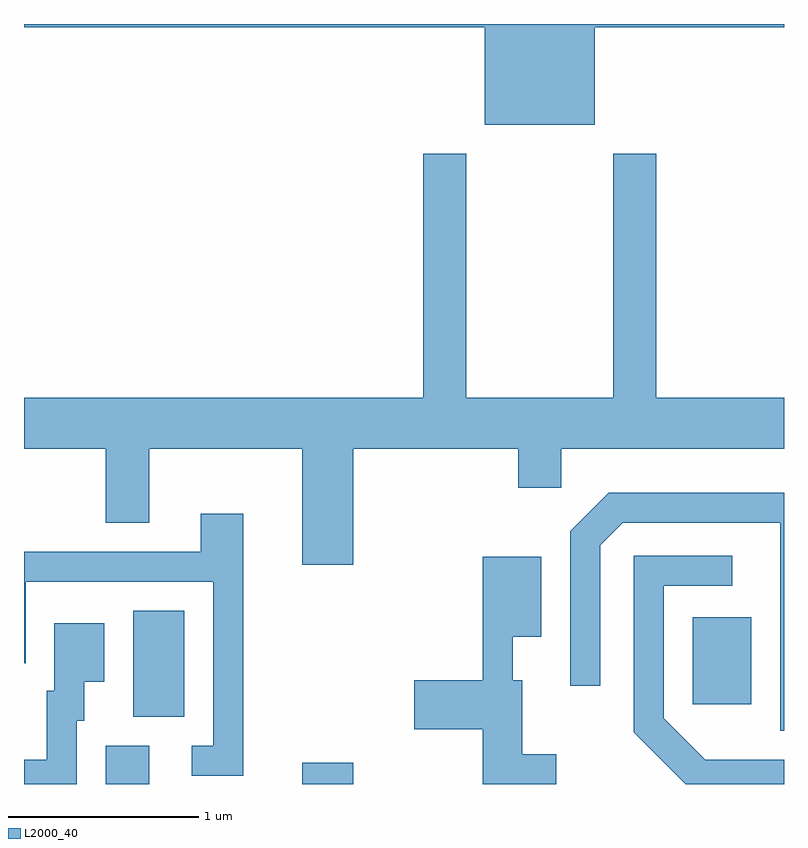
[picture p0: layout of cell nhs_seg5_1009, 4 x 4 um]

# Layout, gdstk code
import gdstk
lib = gdstk.Library(unit=1e-6, precision=1e-09)
def R(c, l, rs):  # rectangles x0, y0, x1, y1
    for r in rs: c.add(gdstk.rectangle(r[:2], r[2:], *l))
def P(c, l, *ps):  # polygons
    for p in ps: c.add(gdstk.Polygon(p, *l))
L2000_40 = (2000, 40)

nhs_seg5_1009 = lib.new_cell('nhs_seg5_1009')
R(nhs_seg5_1009, L2000_40, [(214.041,1526.072,214.269,1526.274), (215.076,1526.072,215.344,1526.184), (214.186,1526.426,214.454,1526.984), (217.131,1526.491,217.439,1526.949)])
P(nhs_seg5_1009, L2000_40, [(216.614,1530.056),(217.611,1530.056),(217.611,1530.072),(213.611,1530.072),(213.611,1530.056),(216.036,1530.056),(216.036,1529.541),(216.614,1529.541)],
  [(215.344,1527.836),(216.211,1527.836),(216.211,1527.631),(216.439,1527.631),(216.439,1527.836),(217.611,1527.836),(217.611,1528.104),(216.939,1528.104),(216.939,1529.389),(216.711,1529.389),(216.711,1528.104),(215.939,1528.104),(215.939,1529.389),(215.711,1529.389),(215.711,1528.104),(213.611,1528.104),(213.611,1527.836),(214.041,1527.836),(214.041,1527.446),(214.269,1527.446),(214.269,1527.836),(215.076,1527.836),(215.076,1527.226),(215.344,1527.226)],
  [(217.611,1527.604),(216.689,1527.604),(216.486,1527.402),(216.486,1526.588),(216.644,1526.588),(216.644,1527.329),(216.762,1527.446),(217.591,1527.446),(217.591,1526.351),(217.611,1526.351)],
  [(214.764,1527.494),(214.541,1527.494),(214.541,1527.294),(213.611,1527.294),(213.611,1526.708),(213.619,1526.708),(213.619,1527.136),(214.606,1527.136),(214.606,1526.274),(214.493,1526.274),(214.493,1526.116),(214.764,1526.116)],
  [(217.611,1526.199),(217.197,1526.199),(216.979,1526.417),(216.979,1527.116),(217.338,1527.116),(217.338,1527.274),(216.821,1527.274),(216.821,1526.344),(217.093,1526.072),(217.611,1526.072)],
  [(216.413,1526.229),(216.234,1526.229),(216.234,1526.619),(216.184,1526.619),(216.184,1526.846),(216.334,1526.846),(216.334,1527.269),(216.026,1527.269),(216.026,1526.619),(215.666,1526.619),(215.666,1526.361),(216.026,1526.361),(216.026,1526.072),(216.413,1526.072)],
  [(213.889,1526.406),(213.929,1526.406),(213.929,1526.611),(214.034,1526.611),(214.034,1526.919),(213.771,1526.919),(213.771,1526.564),(213.731,1526.564),(213.731,1526.199),(213.611,1526.199),(213.611,1526.072),(213.889,1526.072)])

lib.write_gds('nhs_seg5_1009.gds')
